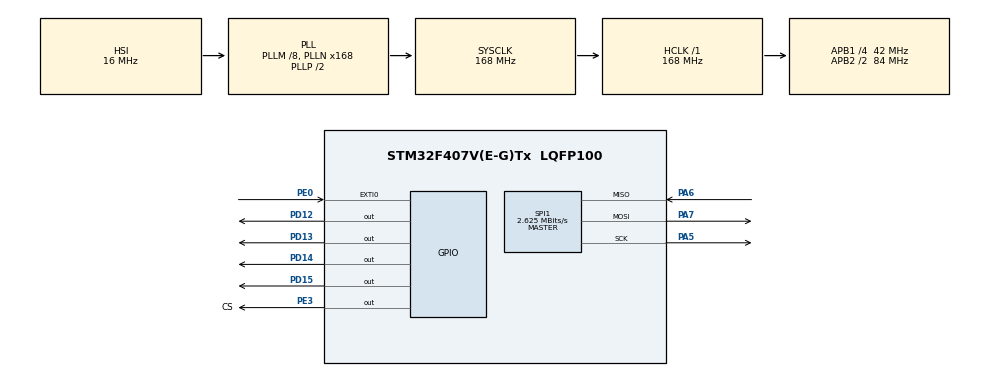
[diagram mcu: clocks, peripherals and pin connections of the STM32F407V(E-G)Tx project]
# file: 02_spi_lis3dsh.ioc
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Mcu.Family=STM32F4
Mcu.Name=STM32F407V(E-G)Tx
Mcu.Package=LQFP100
NVIC.EXTI0_IRQn=true\:0\:0\:false\:false\:true\:true\:true\:true
NVIC.PriorityGroup=NVIC_PRIORITYGROUP_4
PA5.Mode=Full_Duplex_Master
PA5.Signal=SPI1_SCK
PA6.Mode=Full_Duplex_Master
PA6.Signal=SPI1_MISO
PA7.Mode=Full_Duplex_Master
PA7.Signal=SPI1_MOSI
PD12.Signal=GPIO_Output
PD13.Signal=GPIO_Output
PD14.Signal=GPIO_Output
PD15.Signal=GPIO_Output
PE0.GPIO_ModeDefaultEXTI=GPIO_MODE_IT_RISING
PE0.Signal=GPXTI0
PE3.GPIO_Label=CS
PE3.PinState=GPIO_PIN_SET
PE3.Signal=GPIO_Output
ProjectManager.HeapSize=0x200
ProjectManager.StackSize=0x400
ProjectManager.TargetToolchain=STM32CubeIDE
RCC.48MHZClocksFreq_Value=84000000
RCC.AHBFreq_Value=168000000
RCC.APB1CLKDivider=RCC_HCLK_DIV4
RCC.APB1Freq_Value=42000000
RCC.APB1TimFreq_Value=84000000
RCC.APB2CLKDivider=RCC_HCLK_DIV2
RCC.APB2Freq_Value=84000000
RCC.APB2TimFreq_Value=168000000
RCC.CortexFreq_Value=168000000
RCC.HCLKFreq_Value=168000000
RCC.HSE_VALUE=25000000
RCC.HSI_VALUE=16000000
RCC.LSE_VALUE=32768
RCC.PLLM=8
RCC.PLLN=168
RCC.SYSCLKFreq_VALUE=168000000
RCC.SYSCLKSource=RCC_SYSCLKSOURCE_PLLCLK
RCC.VCOOutputFreq_Value=336000000
SPI1.BaudRatePrescaler=SPI_BAUDRATEPRESCALER_32
SPI1.CLKPhase=SPI_PHASE_1EDGE
SPI1.CLKPolarity=SPI_POLARITY_LOW
SPI1.CalculateBaudRate=2.625 MBits/s
SPI1.Direction=SPI_DIRECTION_2LINES
SPI1.Mode=SPI_MODE_MASTER
SPI1.VirtualType=VM_MASTER
board=custom

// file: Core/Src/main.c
/* USER CODE BEGIN Header */
/**
  ******************************************************************************
  * @file           : main.c
  * @brief          : Main program body
  ******************************************************************************
  * @attention
  *
  * Copyright (c) 2026 STMicroelectronics.
  * All rights reserved.
  *
  * This software is licensed under terms that can be found in the LICENSE file
  * in the root directory of this software component.
  * If no LICENSE file comes with this software, it is provided AS-IS.
  *
  ******************************************************************************
  */
/* USER CODE END Header */
#include "main.h"

/* USER CODE BEGIN Includes */

#include "lis3dsh.h"
#include "math.h"

/* USER CODE END Includes */

/* USER CODE BEGIN PD */
#define RAD_TO_DEG (180 / M_PI) // 180 / PI
#define DEG_THRES  15.0
/* USER CODE END PD */

SPI_HandleTypeDef hspi1;

/* USER CODE BEGIN PV */

	LIS3DSH_t mems;
	volatile bool memsHazir = false;
	volatile bool veriHazir = false;

/* USER CODE END PV */

void SystemClock_Config(void);
static void MX_GPIO_Init(void);
static void MX_SPI1_Init(void);

int main(void)
{

  /* MCU Configuration--------------------------------------------------------*/

  /* Reset of all peripherals, Initializes the Flash interface and the Systick. */
  HAL_Init();

  /* Configure the system clock */
  SystemClock_Config();

  /* Initialize all configured peripherals */
  MX_GPIO_Init();
  MX_SPI1_Init();
  /* USER CODE BEGIN 2 */

  memsHazir = LIS3DSH_Initialization(&mems, &hspi1, CS_GPIO_Port, CS_Pin);
  if (memsHazir)
      LIS3DSH_Calibrate(&mems, 200);

  /* USER CODE END 2 */

  /* Infinite loop */
  while (1)
  {

    /* USER CODE BEGIN 3 */
	  if(memsHazir && veriHazir){
		  veriHazir = false;
		  LIS3DSH_Read_XYZ(&mems);

		  mems.roll  = atan2f(mems.y_cal,sqrtf(mems.x_cal * mems.x_cal + mems.z_cal * mems.z_cal)) * RAD_TO_DEG;
		  mems.pitch = atan2f(-mems.x_cal,sqrtf(mems.y_cal * mems.y_cal + mems.z_cal * mems.z_cal)) * RAD_TO_DEG;

		  mems.roll_filtered  = FILTER_ALPHA * mems.roll  + (1.0f - FILTER_ALPHA) * mems.roll_filtered;
		  mems.pitch_filtered = FILTER_ALPHA * mems.pitch + (1.0f - FILTER_ALPHA) * mems.pitch_filtered;

		  HAL_GPIO_WritePin(GPIOD, GPIO_PIN_12, (mems.pitch_filtered < - DEG_THRES) ? GPIO_PIN_SET : GPIO_PIN_RESET);
		  HAL_GPIO_WritePin(GPIOD, GPIO_PIN_14, (mems.pitch_filtered > DEG_THRES)   ? GPIO_PIN_SET : GPIO_PIN_RESET);
		  HAL_GPIO_WritePin(GPIOD, GPIO_PIN_13, (mems.roll_filtered  < - DEG_THRES) ? GPIO_PIN_SET : GPIO_PIN_RESET);
		  HAL_GPIO_WritePin(GPIOD, GPIO_PIN_15, (mems.roll_filtered  > DEG_THRES)   ? GPIO_PIN_SET : GPIO_PIN_RESET);
	  }

  }
  /* USER CODE END 3 */
}

void SystemClock_Config(void)
{
  RCC_OscInitTypeDef RCC_OscInitStruct = {0};
  RCC_ClkInitTypeDef RCC_ClkInitStruct = {0};

  /** Configure the main internal regulator output voltage
  */
  __HAL_RCC_PWR_CLK_ENABLE();
  __HAL_PWR_VOLTAGESCALING_CONFIG(PWR_REGULATOR_VOLTAGE_SCALE1);

  /** Initializes the RCC Oscillators according to the specified parameters
  * in the RCC_OscInitTypeDef structure.
  */
  RCC_OscInitStruct.OscillatorType = RCC_OSCILLATORTYPE_HSI;
  RCC_OscInitStruct.HSIState = RCC_HSI_ON;
  RCC_OscInitStruct.HSICalibrationValue = RCC_HSICALIBRATION_DEFAULT;
  RCC_OscInitStruct.PLL.PLLState = RCC_PLL_ON;
  RCC_OscInitStruct.PLL.PLLSource = RCC_PLLSOURCE_HSI;
  RCC_OscInitStruct.PLL.PLLM = 8;
  RCC_OscInitStruct.PLL.PLLN = 168;
  RCC_OscInitStruct.PLL.PLLP = RCC_PLLP_DIV2;
  RCC_OscInitStruct.PLL.PLLQ = 4;
  if (HAL_RCC_OscConfig(&RCC_OscInitStruct) != HAL_OK)
  {
    Error_Handler();
  }

  /** Initializes the CPU, AHB and APB buses clocks
  */
  RCC_ClkInitStruct.ClockType = RCC_CLOCKTYPE_HCLK|RCC_CLOCKTYPE_SYSCLK
                              |RCC_CLOCKTYPE_PCLK1|RCC_CLOCKTYPE_PCLK2;
  RCC_ClkInitStruct.SYSCLKSource = RCC_SYSCLKSOURCE_PLLCLK;
  RCC_ClkInitStruct.AHBCLKDivider = RCC_SYSCLK_DIV1;
  RCC_ClkInitStruct.APB1CLKDivider = RCC_HCLK_DIV4;
  RCC_ClkInitStruct.APB2CLKDivider = RCC_HCLK_DIV2;

  if (HAL_RCC_ClockConfig(&RCC_ClkInitStruct, FLASH_LATENCY_5) != HAL_OK)
  {
    Error_Handler();
  }
}

static void MX_SPI1_Init(void)
{

  /* SPI1 parameter configuration*/
  hspi1.Instance = SPI1;
  hspi1.Init.Mode = SPI_MODE_MASTER;
  hspi1.Init.Direction = SPI_DIRECTION_2LINES;
  hspi1.Init.DataSize = SPI_DATASIZE_8BIT;
  hspi1.Init.CLKPolarity = SPI_POLARITY_LOW;
  hspi1.Init.CLKPhase = SPI_PHASE_1EDGE;
  hspi1.Init.NSS = SPI_NSS_SOFT;
  hspi1.Init.BaudRatePrescaler = SPI_BAUDRATEPRESCALER_32;
  hspi1.Init.FirstBit = SPI_FIRSTBIT_MSB;
  hspi1.Init.TIMode = SPI_TIMODE_DISABLE;
  hspi1.Init.CRCCalculation = SPI_CRCCALCULATION_DISABLE;
  hspi1.Init.CRCPolynomial = 10;
  if (HAL_SPI_Init(&hspi1) != HAL_OK)
  {
    Error_Handler();
  }

}

static void MX_GPIO_Init(void)
{
  GPIO_InitTypeDef GPIO_InitStruct = {0};

  /* GPIO Ports Clock Enable */
  __HAL_RCC_GPIOE_CLK_ENABLE();
  __HAL_RCC_GPIOA_CLK_ENABLE();
  __HAL_RCC_GPIOD_CLK_ENABLE();

  /*Configure GPIO pin Output Level */
  HAL_GPIO_WritePin(CS_GPIO_Port, CS_Pin, GPIO_PIN_SET);

  /*Configure GPIO pin Output Level */
  HAL_GPIO_WritePin(GPIOD, GPIO_PIN_12|GPIO_PIN_13|GPIO_PIN_14|GPIO_PIN_15, GPIO_PIN_RESET);

  /*Configure GPIO pin : CS_Pin */
  GPIO_InitStruct.Pin = CS_Pin;
  GPIO_InitStruct.Mode = GPIO_MODE_OUTPUT_PP;
  GPIO_InitStruct.Pull = GPIO_NOPULL;
  GPIO_InitStruct.Speed = GPIO_SPEED_FREQ_LOW;
  HAL_GPIO_Init(CS_GPIO_Port, &GPIO_InitStruct);

  /*Configure GPIO pins : PD12 PD13 PD14 PD15 */
  GPIO_InitStruct.Pin = GPIO_PIN_12|GPIO_PIN_13|GPIO_PIN_14|GPIO_PIN_15;
  GPIO_InitStruct.Mode = GPIO_MODE_OUTPUT_PP;
  GPIO_InitStruct.Pull = GPIO_NOPULL;
  GPIO_InitStruct.Speed = GPIO_SPEED_FREQ_LOW;
  HAL_GPIO_Init(GPIOD, &GPIO_InitStruct);

  /*Configure GPIO pin : PE0 */
  GPIO_InitStruct.Pin = GPIO_PIN_0;
  GPIO_InitStruct.Mode = GPIO_MODE_IT_RISING;
  GPIO_InitStruct.Pull = GPIO_NOPULL;
  HAL_GPIO_Init(GPIOE, &GPIO_InitStruct);

  /* EXTI interrupt init*/
  HAL_NVIC_SetPriority(EXTI0_IRQn, 0, 0);
  HAL_NVIC_EnableIRQ(EXTI0_IRQn);

}

/* USER CODE BEGIN 4 */

volatile uint32_t kesme_sayaci = 0;
void HAL_GPIO_EXTI_Callback(uint16_t GPIO_Pin)
{
    if (GPIO_Pin == GPIO_PIN_0){
        veriHazir = true;
        kesme_sayaci++;
    }
}

/* USER CODE END 4 */

void Error_Handler(void)
{
  __disable_irq();
  while (1)
  {
  }
}
